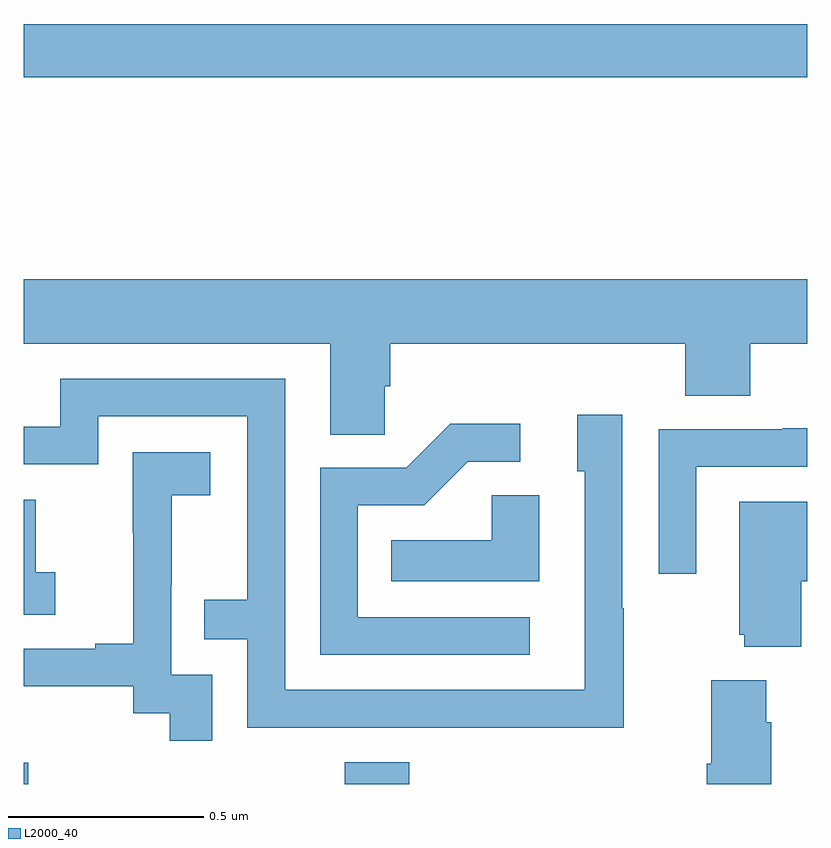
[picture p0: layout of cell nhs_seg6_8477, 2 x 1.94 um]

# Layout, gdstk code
import gdstk
lib = gdstk.Library(unit=1e-6, precision=1e-09)
def R(c, l, rs):  # rectangles x0, y0, x1, y1
    for r in rs: c.add(gdstk.rectangle(r[:2], r[2:], *l))
def P(c, l, *ps):  # polygons
    for p in ps: c.add(gdstk.Polygon(p, *l))
L2000_40 = (2000, 40)

nhs_seg6_8477 = lib.new_cell('nhs_seg6_8477')
R(nhs_seg6_8477, L2000_40, [(221,991.5,221.012,991.554), (221.819,991.5,221.984,991.555), (221,993.304,223,993.44)])
P(nhs_seg6_8477, L2000_40, [(221.922,992.515),(221.936,992.515),(221.936,992.624),(222.689,992.624),(222.689,992.491),(222.854,992.491),(222.854,992.624),(223,992.624),(223,992.788),(221,992.788),(221,992.624),(221.783,992.624),(221.783,992.392),(221.922,992.392)],
  [(222.531,991.949),(222.528,991.949),(222.528,992.443),(222.413,992.443),(222.413,992.298),(222.432,992.298),(222.432,991.74),(221.667,991.74),(221.667,992.535),(221.093,992.535),(221.093,992.412),(221,992.412),(221,992.316),(221.19,992.316),(221.19,992.439),(221.571,992.439),(221.571,991.97),(221.461,991.97),(221.461,991.869),(221.571,991.869),(221.571,991.644),(222.067,991.644),(222.067,991.643),(222.531,991.643)],
  [(222.292,991.926),(221.853,991.926),(221.853,992.211),(222.022,992.211),(222.133,992.322),(222.268,992.322),(222.268,992.42),(222.089,992.42),(221.976,992.307),(221.757,992.307),(221.757,991.83),(222.292,991.83)],
  [(222.717,992.31),(223,992.31),(223,992.408),(222.937,992.408),(222.937,992.406),(222.621,992.406),(222.621,992.037),(222.717,992.037)],
  [(221.481,991.779),(221.376,991.779),(221.376,992.009),(221.378,992.009),(221.378,992.237),(221.476,992.237),(221.476,992.347),(221.278,992.347),(221.278,992.141),(221.279,992.141),(221.279,991.858),(221.183,991.858),(221.183,991.845),(221,991.845),(221,991.749),(221.28,991.749),(221.28,991.681),(221.373,991.681),(221.373,991.611),(221.481,991.611)],
  [(222.316,992.237),(222.195,992.237),(222.195,992.122),(221.938,992.122),(221.938,992.018),(222.316,992.018)],
  [(221.08,992.041),(221.031,992.041),(221.031,992.226),(221,992.226),(221,991.932),(221.08,991.932)],
  [(222.985,992.018),(223,992.018),(223,992.221),(222.827,992.221),(222.827,991.881),(222.839,991.881),(222.839,991.85),(222.985,991.85)],
  [(222.908,991.658),(222.895,991.658),(222.895,991.765),(222.755,991.765),(222.755,991.552),(222.743,991.552),(222.743,991.5),(222.908,991.5)])

lib.write_gds('nhs_seg6_8477.gds')
